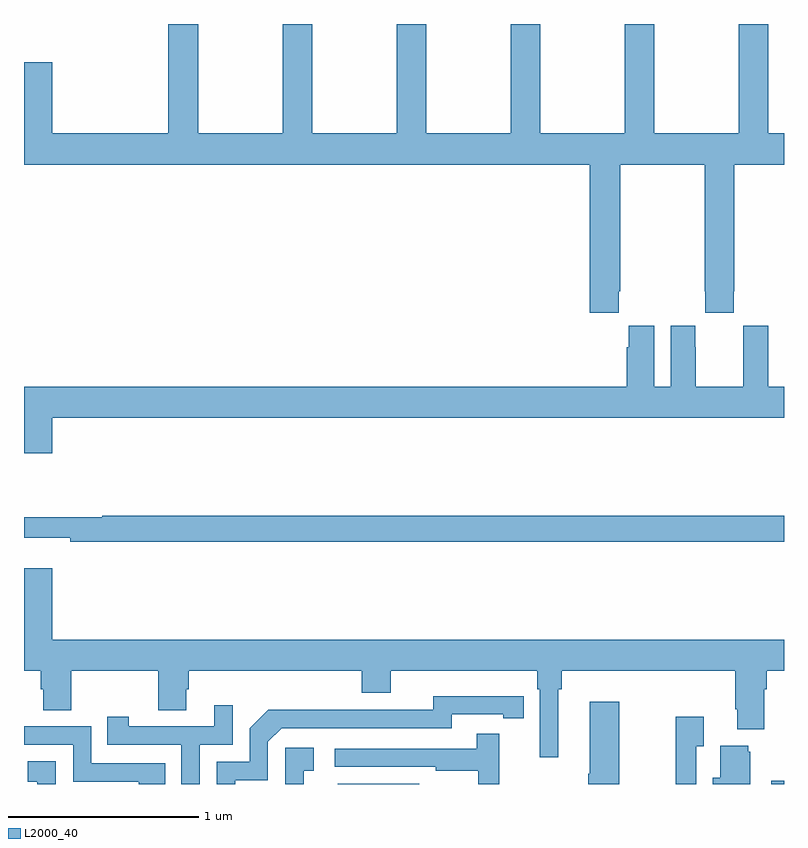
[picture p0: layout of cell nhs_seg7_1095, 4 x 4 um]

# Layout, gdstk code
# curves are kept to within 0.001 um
import gdstk
lib = gdstk.Library(unit=1e-6, precision=1e-09)
def R(c, l, rs):  # rectangles x0, y0, x1, y1
    for r in rs: c.add(gdstk.rectangle(r[:2], r[2:], *l))
def P(c, l, *ps):  # polygons
    for p in ps: c.add(gdstk.Polygon(p, *l))
L2000_40 = (2000, 40)

nhs_seg7_1095 = lib.new_cell('nhs_seg7_1095')
R(nhs_seg7_1095, L2000_40, [(190.652,1020,191.08,1020.001), (192.933,1020,193,1020.016)])
P(nhs_seg7_1095, L2000_40, [(192.131,1022.593),(192.138,1022.593),(192.138,1023.26),(192.583,1023.26),(192.583,1022.593),(192.585,1022.593),(192.585,1022.481),(192.735,1022.481),(192.735,1022.593),(192.738,1022.593),(192.738,1023.26),(193,1023.26),(193,1023.424),(192.918,1023.424),(192.918,1024),(192.763,1024),(192.763,1023.424),(192.318,1023.424),(192.318,1024),(192.163,1024),(192.163,1023.424),(191.718,1023.424),(191.718,1024),(191.563,1024),(191.563,1023.424),(191.118,1023.424),(191.118,1024),(190.963,1024),(190.963,1023.424),(190.518,1023.424),(190.518,1024),(190.363,1024),(190.363,1023.424),(189.918,1023.424),(189.918,1024),(189.758,1024),(189.758,1023.424),(189.148,1023.424),(189.148,1023.799),(189,1023.799),(189,1023.26),(191.978,1023.26),(191.978,1022.481),(192.131,1022.481)],
  [(189.148,1021.928),(193,1021.928),(193,1022.092),(192.916,1022.092),(192.916,1022.413),(192.786,1022.413),(192.786,1022.3),(192.785,1022.3),(192.785,1022.092),(192.535,1022.092),(192.535,1022.3),(192.534,1022.3),(192.534,1022.413),(192.404,1022.413),(192.404,1022.092),(192.316,1022.092),(192.316,1022.413),(192.182,1022.413),(192.182,1022.3),(192.173,1022.3),(192.173,1022.092),(189,1022.092),(189,1021.74),(189.148,1021.74)],
  [(193,1021.412),(189.413,1021.412),(189.413,1021.405),(189,1021.405),(189,1021.295),(189.244,1021.295),(189.244,1021.276),(193,1021.276)],
  [(189.148,1021.135),(189,1021.135),(189,1020.596),(189.089,1020.596),(189.089,1020.498),(189.101,1020.498),(189.101,1020.388),(189.249,1020.388),(189.249,1020.596),(189.706,1020.596),(189.706,1020.388),(189.853,1020.388),(189.853,1020.498),(189.866,1020.498),(189.866,1020.596),(190.778,1020.596),(190.778,1020.479),(190.93,1020.479),(190.93,1020.596),(191.702,1020.596),(191.702,1020.5),(191.715,1020.5),(191.715,1020.141),(191.812,1020.141),(191.812,1020.5),(191.831,1020.5),(191.831,1020.596),(192.743,1020.596),(192.743,1020.394),(192.755,1020.394),(192.755,1020.287),(192.895,1020.287),(192.895,1020.5),(192.908,1020.5),(192.908,1020.596),(193,1020.596),(193,1020.76),(189.148,1020.76)],
  [(190.111,1020.021),(190.284,1020.021),(190.284,1020.222),(190.356,1020.294),(191.25,1020.294),(191.25,1020.366),(191.522,1020.366),(191.522,1020.346),(191.63,1020.346),(191.63,1020.462),(191.154,1020.463),(191.154,1020.39),(190.694,1020.39),(190.694,1020.392),(190.286,1020.392),(190.188,1020.294),(190.188,1020.117),(190.014,1020.117),(190.014,1020),(190.111,1020)],
  [(192.132,1020.433),(191.978,1020.433),(191.978,1020.053),(191.971,1020.053),(191.971,1020),(192.132,1020)],
  [(189.924,1020.207),(190.098,1020.207),(190.098,1020.415),(190.001,1020.415),(190.001,1020.303),(189.55,1020.303),(189.55,1020.355),(189.439,1020.355),(189.439,1020.207),(189.828,1020.207),(189.828,1020),(189.924,1020)],
  [(192.537,1020.199),(192.577,1020.199),(192.577,1020.355),(192.429,1020.355),(192.429,1020),(192.537,1020)],
  [(189.743,1020.108),(189.354,1020.108),(189.354,1020.303),(189,1020.303),(189,1020.207),(189.258,1020.207),(189.258,1020.012),(189.603,1020.012),(189.603,1020),(189.743,1020)],
  [(191.501,1020.265),(191.383,1020.265),(191.383,1020.186),(190.635,1020.186),(190.635,1020.09),(191.167,1020.09),(191.167,1020.07),(191.391,1020.07),(191.391,1020),(191.501,1020)],
  [(192.823,1020.171),(192.812,1020.171),(192.812,1020.202),(192.665,1020.202),(192.665,1020.034),(192.626,1020.034),(192.626,1020),(192.823,1020)],
  [(190.472,1020.069),(190.525,1020.069),(190.525,1020.19),(190.374,1020.19),(190.374,1020),(190.472,1020)],
  [(189.168,1020.121),(189.021,1020.121),(189.021,1020.011),(189.07,1020.011),(189.07,1020),(189.168,1020)])

lib.write_gds('nhs_seg7_1095.gds')
